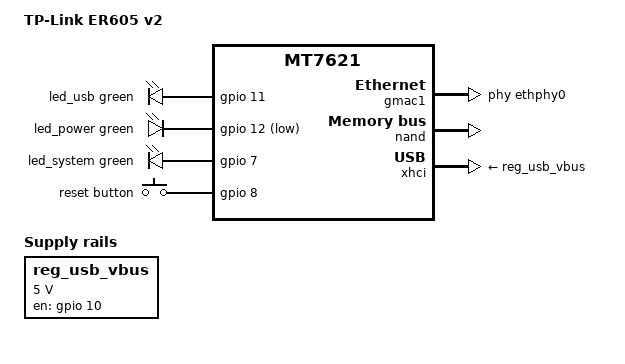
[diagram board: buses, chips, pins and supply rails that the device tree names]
// SPDX-License-Identifier: GPL-2.0-or-later

#include "mt7621.dtsi"

#include <dt-bindings/gpio/gpio.h>
#include <dt-bindings/input/input.h>
#include <dt-bindings/leds/common.h>

/ {
	model = "TP-Link ER605 v2";
	compatible = "tplink,er605-v2", "mediatek,mt7621-soc";

	chosen {
		bootargs = "console=ttyS0,115200 noinitrd";
		// Override bootargs because u-boot passes wrong root parameter.
		// Instead allow kernel determine root automatically by looking for rootfs volume
		bootargs-override = "console=ttyS0,115200 noinitrd ubi.mtd=3,2048";
	};

	aliases {
		led-boot = &led_system;
		led-failsafe = &led_system;
		led-running = &led_system;
		led-upgrade = &led_system;
		label-mac-device = &gmac0;
	};

	leds {
		compatible = "gpio-leds";

		led_usb: usb {
			color = <LED_COLOR_ID_GREEN>;
			function = LED_FUNCTION_USB;
			gpios = <&gpio 11 GPIO_ACTIVE_HIGH>;
		};

		led_power: power {
			color = <LED_COLOR_ID_GREEN>;
			function = LED_FUNCTION_POWER;
			gpios = <&gpio 12 GPIO_ACTIVE_LOW>;
			default-state = "on";
		};

		led_system: system {
			color = <LED_COLOR_ID_GREEN>;
			function = LED_FUNCTION_STATUS;
			gpios = <&gpio 7 GPIO_ACTIVE_HIGH>;
			default-state = "keep";
		};
	};

	keys {
		compatible = "gpio-keys";

		reset {
			label = "reset button";
			gpios = <&gpio 8 GPIO_ACTIVE_HIGH>;
			linux,code = <KEY_RESTART>;
		};
	};

	reg_usb_vbus: regulator-usb {
		compatible = "regulator-fixed";
		regulator-name = "usb_vbus";
		regulator-min-microvolt = <5000000>;
		regulator-max-microvolt = <5000000>;
		gpios = <&gpio 10 GPIO_ACTIVE_HIGH>;
		enable-active-high;
	};
};

&gmac0 {
	label = "dsa";
};

&gmac1 {
	status = "okay";
	label = "wan1";
	phy-handle = <&ethphy0>;
};


&switch0 {
	ports {
		port@0 {
			status = "disabled";
		};

		port@1 {
			status = "okay";
			label = "lan2";
		};

		port@2 {
			status = "okay";
			label = "lan3";
		};

		port@3 {
			status = "okay";
			label = "lan4";
		};

		port@4 {
			status = "okay";
			label = "lan5";
		};
	};
};

&nand {
	status = "okay";

	partitions {
		compatible = "fixed-partitions";
		#address-cells = <1>;
		#size-cells = <1>;

		partition@0 {
			label = "u-boot";
			reg = <0x0 0x80000>;
			read-only;
		};

		partition@80000 {
			label = "u-boot-env";
			reg = <0x80000 0x80000>;
			read-only;
		};

		partition@100000 {
			label = "factory";
			reg = <0x100000 0x40000>;
			read-only;
		};

		partition@140000 {
			label = "firmware";
			reg = <0x140000 0x7cc0000>;
		};

		partition@7e00000 {
			label = "panic-ops";
			reg = <0x7e00000 0x200000>;
		};
	};
};

&ethphy0 {
	/delete-property/ interrupts;
};

&state_default {
	gpio {
		groups = "uart2", "uart3", "pcie", "jtag";
		function = "gpio";
	};
};

&spi0 {
	status = "disabled";
};

&xhci {
	vbus-supply = <&reg_usb_vbus>;
};

